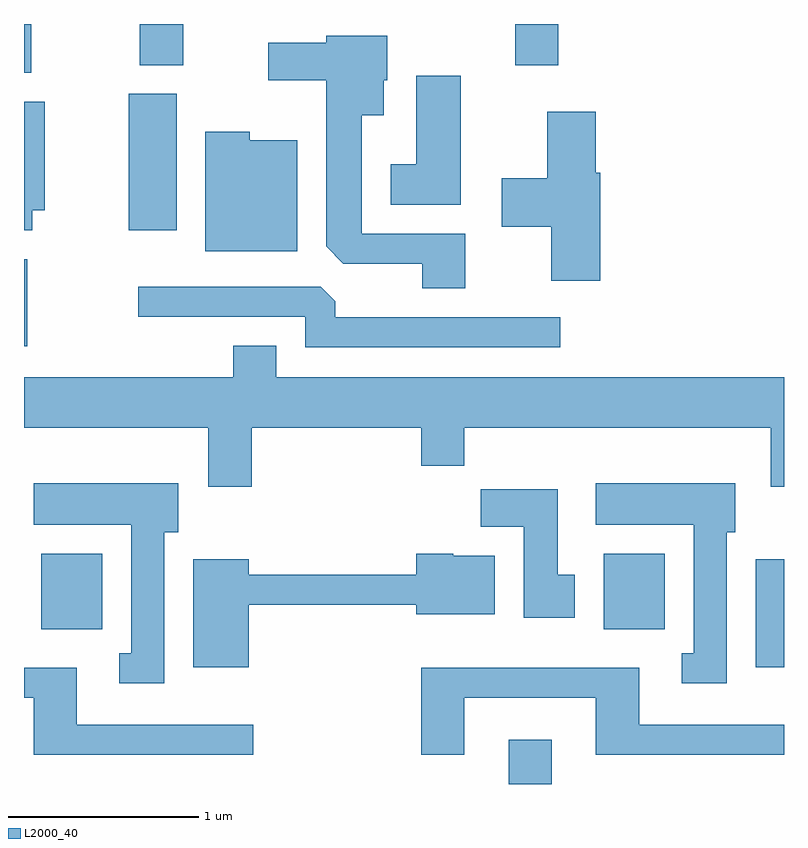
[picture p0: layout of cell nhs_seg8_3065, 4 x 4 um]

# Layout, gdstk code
import gdstk
lib = gdstk.Library(unit=1e-6, precision=1e-09)
def R(c, l, rs):  # rectangles x0, y0, x1, y1
    for r in rs: c.add(gdstk.rectangle(r[:2], r[2:], *l))
def P(c, l, *ps):  # polygons
    for p in ps: c.add(gdstk.Polygon(p, *l))
L2000_40 = (2000, 40)

nhs_seg8_3065 = lib.new_cell('nhs_seg8_3065')
R(nhs_seg8_3065, L2000_40, [(280.161,1812.342,280.389,1812.574), (281.461,1812.956,281.611,1813.524), (277.701,1813.156,278.024,1813.554), (280.661,1813.156,280.984,1813.554), (277.611,1814.646,277.629,1815.104), (278.161,1815.256,278.414,1815.974), (277.611,1816.086,277.649,1816.342), (278.221,1816.126,278.449,1816.342), (280.196,1816.126,280.424,1816.342)])
P(nhs_seg8_3065, L2000_40, [(279.934,1815.239),(279.389,1815.239),(279.389,1815.861),(279.504,1815.861),(279.504,1816.046),(279.524,1816.046),(279.524,1816.279),(279.201,1816.279),(279.201,1816.244),(278.896,1816.244),(278.896,1816.046),(279.201,1816.046),(279.201,1815.172),(279.292,1815.081),(279.706,1815.081),(279.706,1814.951),(279.934,1814.951)],
  [(279.909,1816.069),(279.676,1816.069),(279.676,1815.604),(279.541,1815.604),(279.541,1815.391),(279.909,1815.391)],
  [(277.654,1815.361),(277.719,1815.361),(277.719,1815.934),(277.611,1815.934),(277.611,1815.256),(277.654,1815.256)],
  [(280.644,1815.559),(280.619,1815.559),(280.619,1815.879),(280.366,1815.879),(280.366,1815.529),(280.126,1815.529),(280.126,1815.276),(280.386,1815.276),(280.386,1814.991),(280.644,1814.991)],
  [(279.049,1815.729),(278.799,1815.729),(278.799,1815.774),(278.566,1815.774),(278.566,1815.146),(279.049,1815.146)],
  [(280.433,1814.799),(279.249,1814.799),(279.249,1814.884),(279.174,1814.959),(278.213,1814.959),(278.213,1814.801),(279.091,1814.801),(279.091,1814.641),(280.433,1814.641)],
  [(277.611,1814.216),(278.581,1814.216),(278.581,1813.906),(278.809,1813.906),(278.809,1814.216),(279.701,1814.216),(279.701,1814.016),(279.929,1814.016),(279.929,1814.216),(281.541,1814.216),(281.541,1813.906),(281.611,1813.906),(281.611,1814.484),(278.939,1814.484),(278.939,1814.649),(278.711,1814.649),(278.711,1814.484),(277.611,1814.484)],
  [(281.309,1813.666),(281.354,1813.666),(281.354,1813.924),(280.621,1813.924),(280.621,1813.706),(281.136,1813.706),(281.136,1813.029),(281.073,1813.029),(281.073,1812.871),(281.309,1812.871)],
  [(278.349,1813.666),(278.424,1813.666),(278.424,1813.924),(277.661,1813.924),(277.661,1813.706),(278.176,1813.706),(278.176,1813.029),(278.113,1813.029),(278.113,1812.871),(278.349,1812.871)],
  [(280.509,1813.444),(280.419,1813.444),(280.419,1813.894),(280.016,1813.894),(280.016,1813.696),(280.241,1813.696),(280.241,1813.216),(280.509,1813.216)],
  [(278.794,1813.286),(279.676,1813.286),(279.676,1813.236),(280.089,1813.236),(280.089,1813.544),(279.87,1813.544),(279.87,1813.554),(279.676,1813.554),(279.676,1813.444),(278.794,1813.444),(278.794,1813.524),(278.501,1813.524),(278.501,1812.956),(278.794,1812.956)],
  [(279.929,1812.796),(280.621,1812.796),(280.621,1812.496),(281.611,1812.496),(281.611,1812.654),(280.849,1812.654),(280.849,1812.954),(279.701,1812.954),(279.701,1812.496),(279.929,1812.496)],
  [(278.818,1812.654),(277.889,1812.654),(277.889,1812.954),(277.611,1812.954),(277.611,1812.796),(277.661,1812.796),(277.661,1812.496),(278.818,1812.496)])

lib.write_gds('nhs_seg8_3065.gds')
